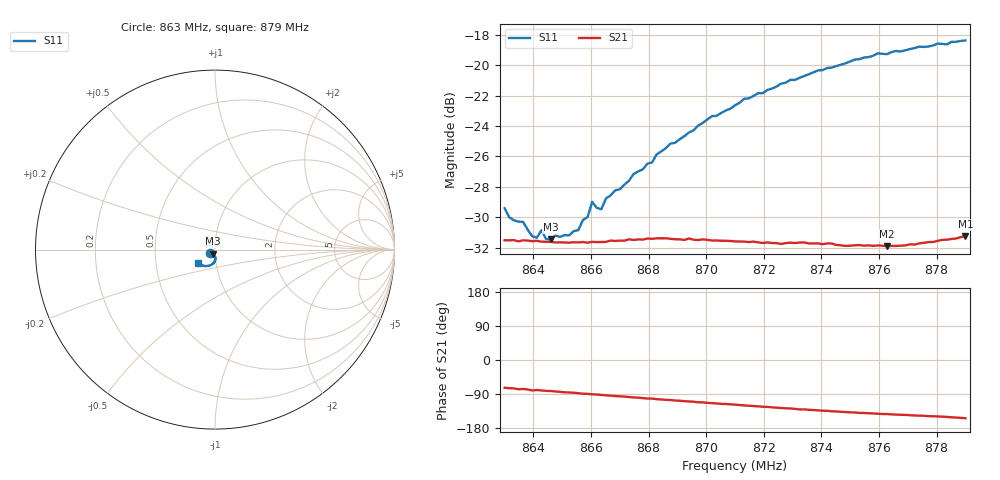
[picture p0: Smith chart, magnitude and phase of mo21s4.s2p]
# HZ S RI R 50
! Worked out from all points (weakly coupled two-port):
!   101 points, 863 MHz to 879 MHz, reference 50 ohm
!   highest |S21| = -31.24 dB at 879 MHz (marker M1); lowest = -31.9 dB at 876.28 MHz (marker M2)
!   lowest |S11| = -31.5 dB at 864.6 MHz (marker M3), VSWR 1.05, Z = 48.7 - j2.3 ohm
!   |S11| at or under -10 dB: start of sweep to end of sweep
!   S12 and S22 are empty: the file has one direction only
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8.63e8  -0.0273 -0.02  0.00767 -0.0254  0 0  0 0
8.6316e8  -0.0254 -0.0189  0.00714 -0.0256  0 0  0 0
8.6364e8  -0.0217 -0.0215  0.00626 -0.0258  0 0  0 0
8.6396e8  -0.0188 -0.0199  0.00441 -0.026  0 0  0 0
8.6412e8  -0.0162 -0.0217  0.00497 -0.026  0 0  0 0
8.6428e8  -0.0156 -0.0241  0.00441 -0.0259  0 0  0 0
8.6444e8  -0.0139 -0.0229  0.00392 -0.026  0 0  0 0
8.646e8  -0.0126 -0.0236  0.00372 -0.026  0 0  0 0
8.6556e8  -0.00641 -0.028  0.00113 -0.0261  0 0  0 0
8.6572e8  -0.00505 -0.0306  0.000533 -0.0262  0 0  0 0
8.6588e8  -0.00465 -0.0313  0.000292 -0.0261  0 0  0 0
8.6604e8  -0.00466 -0.0352  -0.000244 -0.0263  0 0  0 0
8.6636e8  -0.00312 -0.0335  -0.000939 -0.0262  0 0  0 0
8.6652e8  -0.00143 -0.0364  -0.0015 -0.0262  0 0  0 0
8.6812e8  0.00176 -0.0478  -0.00549 -0.0263  0 0  0 0
8.6844e8  0.00229 -0.052  -0.00662 -0.0262  0 0  0 0
8.702e8  -0.00273 -0.0679  -0.0108 -0.0242  0 0  0 0
8.71e8  -0.00673 -0.0735  -0.0123 -0.0233  0 0  0 0
8.7372e8  -0.0308 -0.0896  -0.0174 -0.0192  0 0  0 0
8.7628e8  -0.0616 -0.0896  -0.0202 -0.0154  0 0  0 0
8.7644e8  -0.0645 -0.0897  -0.0205 -0.0151  0 0  0 0
8.79e8  -0.0956 -0.0735  -0.0246 -0.0121  0 0  0 0
